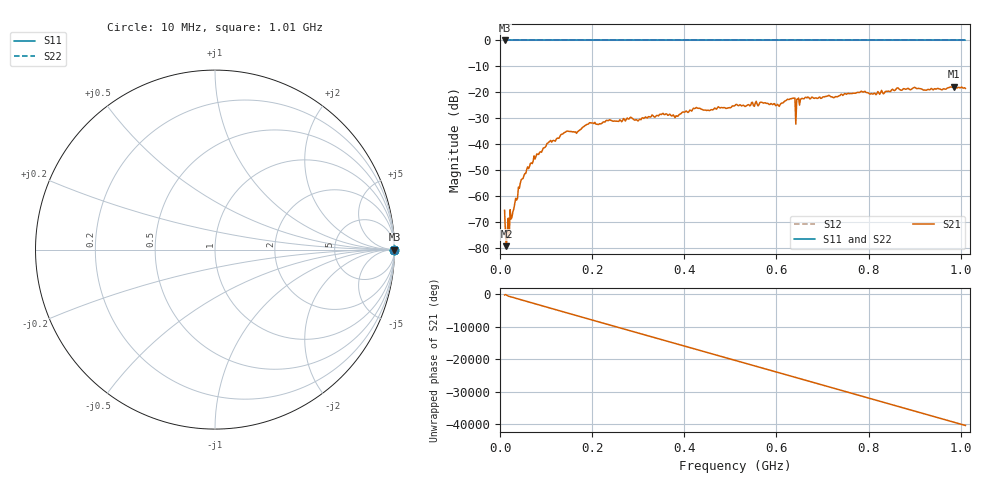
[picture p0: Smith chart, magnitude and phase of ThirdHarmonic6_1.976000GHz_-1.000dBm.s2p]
! 8/16/2025 11:46:08 PM
! C:\ANRITSUVNA\TEMP\TEMP.S2P
! CHANNEL.1
! TR.MEASUREMENT
! RAW.DATA
! RF.CORRECTION.OFF
! AVERAGING.OFF
! IF.BANDWIDTH: 5KHZ
! SWEEPTYPE:  FREQ.SWEEP(Linear)
! Reference Plane Port Info
! PORT:  PORT1  PORT2
! DISTANCE:  0  m  0  m
! TIME:  0  s  0  s
! PHASE.OFFSET:  0  deg.  0  deg.
! LOSS:  0  dB  0  dB
! REF.LOSS:  0  dB  0  dB
! REF.FREQ:  0  Hz  0  Hz
! Power Info
! POWER:  -20  dBm  -20  dBm
! EFF.POWER:  -20  dBm  -20  dBm
! SOURCE.ATTEN:  0  dB  0  dB
! TEST.ATTEN:  0  dB  0  dB
# GHZ S RI R 50.0
! FREQ.GHZ  S11RE  S11IM  S21RE  S21IM  S12RE  S12IM  S22RE  S22IM
!; PortSelection: Port_12
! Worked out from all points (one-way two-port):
!   501 points, 10 MHz to 1.01 GHz, reference 50 ohm
!   highest |S21| = -17.91 dB at 986 MHz (marker M1); lowest = -79.5 dB at 14 MHz (marker M2)
!   lowest |S11| = 0.0 dB at 10 MHz (marker M3)
!   |S11| at or under -10 dB: nowhere
!   |S22| runs from 0.0 to 0.0 dB; largest |S21 - S12| = 1.1
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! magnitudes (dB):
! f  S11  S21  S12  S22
! 10 MHz  0.0  -65.7  0.0  0.0
! 14 MHz  0.0  -79.5  0.0  0.0
! 16 MHz  0.0  -73.1  0.0  0.0
! 20 MHz  0.0  -76.4  0.0  0.0
! 44 MHz  0.0  -55.1  0.0  0.0
! 78 MHz  0.0  -44.8  0.0  0.0
! 142 MHz  0.0  -35.4  0.0  0.0
! 178 MHz  0.0  -33.8  0.0  0.0
! 198 MHz  0.0  -31.9  0.0  0.0
! 344 MHz  0.0  -29.2  0.0  0.0
! 382 MHz  0.0  -29.1  0.0  0.0
! 424 MHz  0.0  -26.2  0.0  0.0
! 510 MHz  0.0  -25.1  0.0  0.0
! 602 MHz  0.0  -24.7  0.0  0.0
! 636 MHz  0.0  -22.3  0.0  0.0
! 638 MHz  0.0  -22.3  0.0  0.0
! 646 MHz  0.0  -22.6  0.0  0.0
! 648 MHz  0.0  -22.2  0.0  0.0
! 678 MHz  0.0  -21.9  0.0  0.0
! 844 MHz  0.0  -19.6  0.0  0.0
! 986 MHz  0.0  -17.9  0.0  0.0
! 1.01 GHz  0.0  -18.5  0.0  0.0
